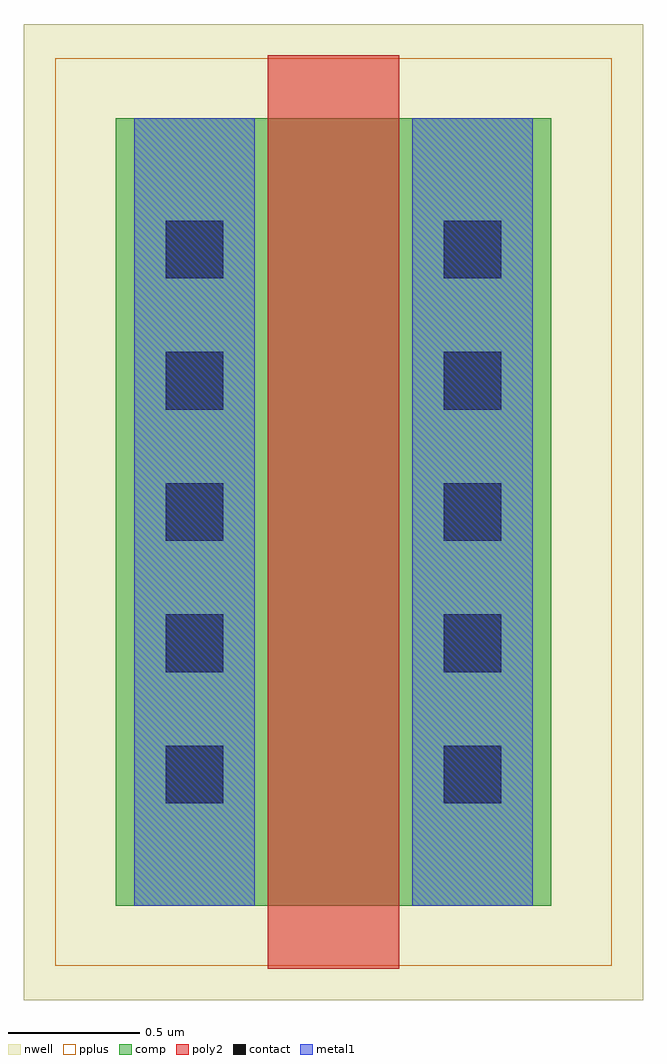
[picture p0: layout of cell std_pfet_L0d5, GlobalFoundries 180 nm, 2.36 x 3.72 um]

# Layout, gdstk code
import gdstk
lib = gdstk.Library(unit=1e-6, precision=5e-09)
def R(c, l, rs):  # rectangles x0, y0, x1, y1
    for r in rs: c.add(gdstk.rectangle(r[:2], r[2:], *l))
def A(c, l, x, y, w, h, nx, ny, dx, dy):  # array of equal rectangles
    R(c, l, [(x+i*dx, y+j*dy, x+i*dx+w, y+j*dy+h) for i in range(nx) for j in range(ny)])
nwell = (21, 0)
comp = (22, 0)
poly2 = (30, 0)
pplus = (31, 0)
contact = (33, 0)
metal1 = (34, 0)

std_pfet_l0d5 = lib.new_cell('std_pfet_L0d5')
R(std_pfet_l0d5, nwell, [(-1.18,-1.86,1.18,1.86)])
R(std_pfet_l0d5, comp, [(-0.83,-1.5,0.83,1.5)])
R(std_pfet_l0d5, poly2, [(-0.25,-1.74,0.25,1.74)])
R(std_pfet_l0d5, pplus, [(-1.06,-1.73,1.06,1.73)])
A(std_pfet_l0d5, contact, -0.64, -1.11, 0.22, 0.22, 1, 5, 0, 0.5)
A(std_pfet_l0d5, contact, 0.42, -1.11, 0.22, 0.22, 1, 5, 0, 0.5)
A(std_pfet_l0d5, metal1, -0.76, -1.23, 0.46, 0.46, 1, 5, 0, 0.5)
A(std_pfet_l0d5, metal1, 0.3, -1.23, 0.46, 0.46, 1, 5, 0, 0.5)
R(std_pfet_l0d5, metal1, [(-0.76,-1.5,-0.3,1.5), (0.3,-1.5,0.76,1.5)])

lib.write_gds('std_pfet_L0d5.gds')
